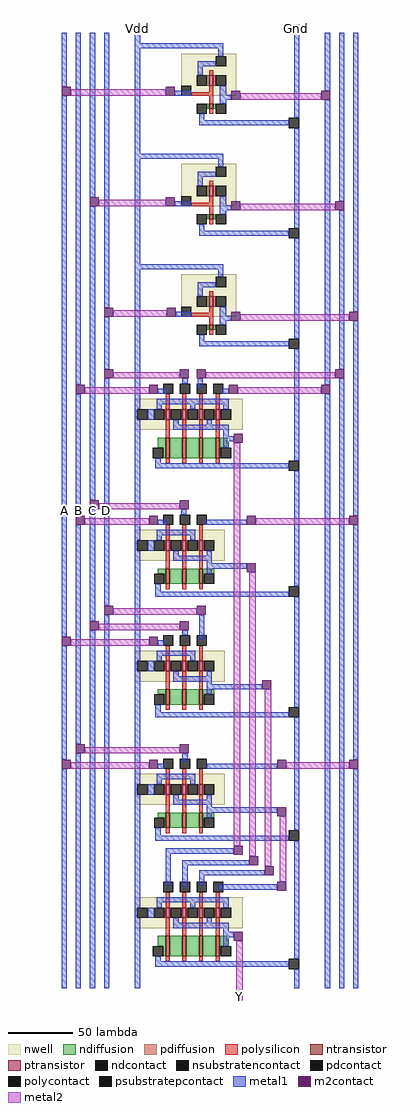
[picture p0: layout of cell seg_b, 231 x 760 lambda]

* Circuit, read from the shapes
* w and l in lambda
.subckt seg_b A B C D Gnd Vdd Y
M1 n1 n2 Gnd Gnd nfet w=16 l=3
M2 n3 A Gnd Gnd nfet w=12 l=3
M3 n4 A Gnd Gnd nfet w=12 l=3
M4 n5 B Gnd Gnd nfet w=12 l=3
M5 n6 B Gnd Gnd nfet w=16 l=3
M6 n7 n8 n1 Gnd nfet w=16 l=3
M7 n9 B n3 Gnd nfet w=12 l=3
M8 n10 C n4 Gnd nfet w=12 l=3
M9 n11 C n5 Gnd nfet w=12 l=3
M10 n12 D n6 Gnd nfet w=16 l=3
M11 n13 n14 n7 Gnd nfet w=16 l=3
M12 n15 n16 n9 Gnd nfet w=12 l=3
M13 n14 D n10 Gnd nfet w=12 l=3
M14 n8 n16 n11 Gnd nfet w=12 l=3
M15 n17 n18 n12 Gnd nfet w=16 l=3
M16 n16 D Gnd Gnd nfet w=4 l=3
M17 n18 C Gnd Gnd nfet w=4 l=3
M18 n19 A Gnd Gnd nfet w=4 l=3
M19 Y n15 n13 Gnd nfet w=16 l=3
M20 n2 n19 n17 Gnd nfet w=16 l=3
M21 Y n2 Vdd Vdd pfet w=8 l=3
M22 n15 A Vdd Vdd pfet w=8 l=3
M23 n14 A Vdd Vdd pfet w=8 l=3
M24 n8 B Vdd Vdd pfet w=8 l=3
M25 n2 B Vdd Vdd pfet w=8 l=3
M26 Vdd n8 Y Vdd pfet w=8 l=3
M27 Vdd B n15 Vdd pfet w=8 l=3
M28 Vdd C n14 Vdd pfet w=8 l=3
M29 Vdd C n8 Vdd pfet w=8 l=3
M30 Vdd D n2 Vdd pfet w=8 l=3
M31 Y n14 Vdd Vdd pfet w=8 l=3
M32 n15 n16 Vdd Vdd pfet w=8 l=3
M33 n14 D Vdd Vdd pfet w=8 l=3
M34 n8 n16 Vdd Vdd pfet w=8 l=3
M35 n2 n18 Vdd Vdd pfet w=8 l=3
M36 n16 D Vdd Vdd pfet w=8 l=3
M37 n18 C Vdd Vdd pfet w=8 l=3
M38 n19 A Vdd Vdd pfet w=8 l=3
M39 Vdd n15 Y Vdd pfet w=8 l=3
M40 Vdd n19 n2 Vdd pfet w=8 l=3
.ends

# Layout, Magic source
magic
tech tsmc
<< metal1 >>
rect 0 86 4 93
rect 124 86 128 93
rect -57 44 -53 86
rect -57 -384 -53 37
rect -46 -188 -42 86
rect -35 -42 -31 86
rect -46 -290 -42 -195
rect -35 -278 -31 -49
rect -24 -128 -20 86
rect 148 41 152 86
rect 31 37 44 41
rect 66 34 75 38
rect 31 -49 44 -45
rect 66 -52 75 -48
rect 32 -135 44 -131
rect -24 -176 -20 -135
rect 66 -138 75 -134
rect -57 -480 -53 -391
rect -46 -468 -42 -297
rect -35 -372 -31 -285
rect -24 -360 -20 -183
rect 37 -187 41 -183
rect 49 -190 53 -183
rect 148 -188 152 34
rect 159 -45 163 86
rect 159 -176 163 -52
rect 170 -131 174 86
rect 18 -195 25 -191
rect 68 -195 73 -191
rect 69 -232 77 -228
rect 0 -275 4 -265
rect 124 -279 128 -266
rect 36 -289 40 -285
rect 18 -297 25 -293
rect 54 -297 87 -293
rect 58 -331 87 -327
rect -57 -658 -53 -487
rect -46 -658 -42 -475
rect -35 -658 -31 -379
rect -24 -658 -20 -367
rect 37 -383 41 -379
rect 50 -386 54 -367
rect 18 -391 23 -387
rect 56 -425 99 -421
rect 0 -466 4 -460
rect 124 -470 128 -459
rect 37 -481 41 -475
rect 18 -487 23 -483
rect 56 -487 111 -483
rect 56 -521 111 -517
rect 24 -553 77 -549
rect 0 -566 4 -557
rect 24 -578 28 -553
rect 37 -562 89 -558
rect 37 -579 41 -562
rect 124 -563 128 -554
rect 50 -570 101 -566
rect 50 -578 54 -570
rect 65 -581 111 -577
rect 69 -618 77 -614
rect 148 -658 152 -195
rect 159 -658 163 -183
rect 170 -290 174 -138
rect 170 -480 174 -297
rect 170 -658 174 -487
<< m2contact >>
rect -57 37 -50 44
rect -35 -49 -28 -42
rect -46 -195 -39 -188
rect 24 37 31 44
rect 75 34 82 41
rect 145 34 152 41
rect 24 -49 31 -42
rect 75 -52 82 -45
rect -24 -135 -17 -128
rect 25 -135 32 -128
rect 75 -138 82 -131
rect -24 -183 -17 -176
rect 35 -183 42 -176
rect 48 -183 55 -176
rect -35 -285 -28 -278
rect -46 -297 -39 -290
rect -57 -391 -50 -384
rect 11 -195 18 -188
rect 156 -52 163 -45
rect 167 -138 174 -131
rect 156 -183 163 -176
rect 73 -195 80 -188
rect 145 -195 152 -188
rect 77 -233 84 -226
rect 35 -285 42 -278
rect 11 -297 18 -290
rect 87 -297 94 -290
rect 87 -334 94 -327
rect -24 -367 -17 -360
rect 48 -367 55 -360
rect -35 -379 -28 -372
rect -46 -475 -39 -468
rect -57 -487 -50 -480
rect 35 -379 42 -372
rect 11 -391 18 -384
rect 99 -425 106 -418
rect 35 -475 42 -468
rect 11 -487 18 -480
rect 111 -487 118 -480
rect 111 -524 118 -517
rect 77 -554 84 -547
rect 89 -562 96 -555
rect 101 -570 108 -563
rect 111 -582 118 -575
rect 77 -621 84 -614
rect 167 -297 174 -290
rect 167 -487 174 -480
<< metal2 >>
rect -50 37 24 42
rect 82 34 145 39
rect -28 -49 24 -44
rect 82 -52 156 -47
rect -17 -135 25 -130
rect 82 -138 167 -133
rect -17 -183 35 -178
rect 55 -183 156 -178
rect -39 -195 11 -190
rect 80 -195 145 -190
rect -28 -285 35 -280
rect -39 -297 11 -292
rect -17 -367 48 -362
rect -28 -379 35 -374
rect -50 -391 11 -386
rect -39 -475 35 -470
rect -50 -487 11 -482
rect 77 -547 82 -233
rect 94 -297 167 -292
rect 89 -555 94 -334
rect 101 -563 106 -425
rect 118 -487 167 -482
rect 113 -575 118 -524
rect 79 -667 84 -621
use 1INV  1INV_0
transform 1 0 49 0 1 20
box -49 -20 79 66
use 1INV  1INV_1
transform 1 0 49 0 1 -66
box -49 -20 79 66
use 1INV  1INV_2
transform 1 0 49 0 1 -152
box -49 -20 79 66
use 4NAND  4NAND_0
transform 1 0 18 0 1 -215
box -18 -55 110 43
use 3NAND  3NAND_1
transform 1 0 18 0 1 -317
box -18 -51 110 43
use 3NAND  3NAND_0
transform 1 0 18 0 1 -411
box -18 -51 110 43
use 3NAND  3NAND_2
transform 1 0 18 0 1 -507
box -18 -51 110 43
use 4NAND  4NAND_3
transform 1 0 18 0 1 -603
box -18 -55 110 43
<< labels >>
rlabel metal1 -57 -658 -53 86 3 A
rlabel metal1 -46 -658 -42 86 1 B
rlabel metal1 -35 -658 -31 86 1 C
rlabel metal1 -24 -658 -20 86 1 D
rlabel metal1 0 86 4 93 5 Vdd
rlabel metal1 124 86 128 93 5 Gnd
rlabel metal2 79 -667 84 -662 1 Y
<< end >>

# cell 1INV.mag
magic
tech tsmc
<< nwell >>
rect -13 17 30 50
<< ntransistor >>
rect 9 7 12 11
<< ptransistor >>
rect 9 25 12 33
<< ndiffusion >>
rect 7 7 9 11
rect 12 7 14 11
<< pdiffusion >>
rect 7 25 9 33
rect 12 25 14 33
<< ndcontact >>
rect -1 3 7 11
rect 14 3 22 11
<< pdcontact >>
rect -1 25 7 33
rect 14 25 22 33
<< psubstratepcontact >>
rect 71 -8 79 0
<< nsubstratencontact >>
rect 14 40 22 48
<< polysilicon >>
rect 9 33 12 37
rect 9 20 12 25
rect -5 17 12 20
rect 9 11 12 17
rect 9 3 12 7
<< polycontact >>
rect -13 17 -5 25
<< metal1 >>
rect -49 58 -45 66
rect -49 54 20 58
rect -49 -20 -45 54
rect 16 48 20 54
rect 0 40 14 44
rect 0 33 4 40
rect 17 11 22 25
rect 1 -2 5 3
rect 75 0 79 66
rect 1 -6 71 -2
rect 75 -20 79 -8
<< end >>

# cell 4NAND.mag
magic
tech tsmc
<< nwell >>
rect -18 -8 66 16
<< ntransistor >>
rect 6 -30 9 -14
rect 19 -30 22 -14
rect 32 -30 35 -14
rect 45 -30 48 -14
<< ptransistor >>
rect 6 0 9 8
rect 19 0 22 8
rect 32 0 35 8
rect 45 0 48 8
<< ndiffusion >>
rect 0 -22 6 -14
rect 4 -30 6 -22
rect 9 -30 19 -14
rect 22 -30 32 -14
rect 35 -30 45 -14
rect 48 -22 54 -14
rect 48 -30 49 -22
<< pdiffusion >>
rect 5 0 6 8
rect 9 0 10 8
rect 18 0 19 8
rect 22 0 23 8
rect 31 0 32 8
rect 35 0 36 8
rect 44 0 45 8
rect 48 0 49 8
<< ndcontact >>
rect -4 -30 4 -22
rect 49 -30 57 -22
<< pdcontact >>
rect -3 0 5 8
rect 10 0 18 8
rect 23 0 31 8
rect 36 0 44 8
rect 49 0 57 8
<< psubstratepcontact >>
rect 102 -40 110 -32
<< nsubstratencontact >>
rect -16 0 -8 8
<< polysilicon >>
rect 6 8 9 20
rect 19 8 22 20
rect 32 8 35 20
rect 45 8 48 20
rect 6 -14 9 0
rect 19 -14 22 0
rect 32 -14 35 0
rect 45 -14 48 0
rect 6 -34 9 -30
rect 19 -34 22 -30
rect 32 -34 35 -30
rect 45 -34 48 -30
<< polycontact >>
rect 4 20 12 28
rect 17 20 25 28
rect 30 20 38 28
rect 43 20 51 28
<< metal1 >>
rect -18 8 -14 43
rect -1 12 55 16
rect -1 8 3 12
rect 25 8 29 12
rect 51 8 55 12
rect -18 0 -16 8
rect -8 0 -3 8
rect -18 -55 -14 0
rect 12 -4 16 0
rect 38 -4 42 0
rect 12 -8 55 -4
rect 51 -22 55 -8
rect -2 -34 2 -30
rect 106 -32 110 43
rect -2 -38 102 -34
rect 106 -55 110 -40
<< end >>

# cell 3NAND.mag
magic
tech tsmc
<< nwell >>
rect -18 -8 52 16
<< ntransistor >>
rect 6 -26 9 -14
rect 19 -26 22 -14
rect 32 -26 35 -14
<< ptransistor >>
rect 6 0 9 8
rect 19 0 22 8
rect 32 0 35 8
<< ndiffusion >>
rect 0 -18 6 -14
rect 5 -26 6 -18
rect 9 -26 19 -14
rect 22 -26 32 -14
rect 35 -18 44 -14
rect 35 -26 36 -18
<< pdiffusion >>
rect 5 0 6 8
rect 9 0 10 8
rect 18 0 19 8
rect 22 0 23 8
rect 31 0 32 8
rect 35 0 36 8
<< ndcontact >>
rect -3 -26 5 -18
rect 36 -26 44 -18
<< pdcontact >>
rect -3 0 5 8
rect 10 0 18 8
rect 23 0 31 8
rect 36 0 44 8
<< psubstratepcontact >>
rect 102 -36 110 -28
<< nsubstratencontact >>
rect -16 0 -8 8
<< polysilicon >>
rect 6 8 9 20
rect 19 8 22 20
rect 32 8 35 20
rect 6 -14 9 0
rect 19 -14 22 0
rect 32 -14 35 0
rect 6 -30 9 -26
rect 19 -30 22 -26
rect 32 -30 35 -26
<< polycontact >>
rect 4 20 12 28
rect 17 20 25 28
rect 30 20 38 28
<< metal1 >>
rect -18 8 -14 43
rect -1 12 29 16
rect -1 8 3 12
rect 25 8 29 12
rect -18 0 -16 8
rect -8 0 -3 8
rect -18 -51 -14 0
rect 12 -4 16 0
rect 38 -4 42 0
rect 12 -8 42 -4
rect 38 -18 42 -8
rect -2 -32 2 -26
rect 106 -28 110 43
rect -2 -36 102 -32
rect 106 -51 110 -36
<< end >>
